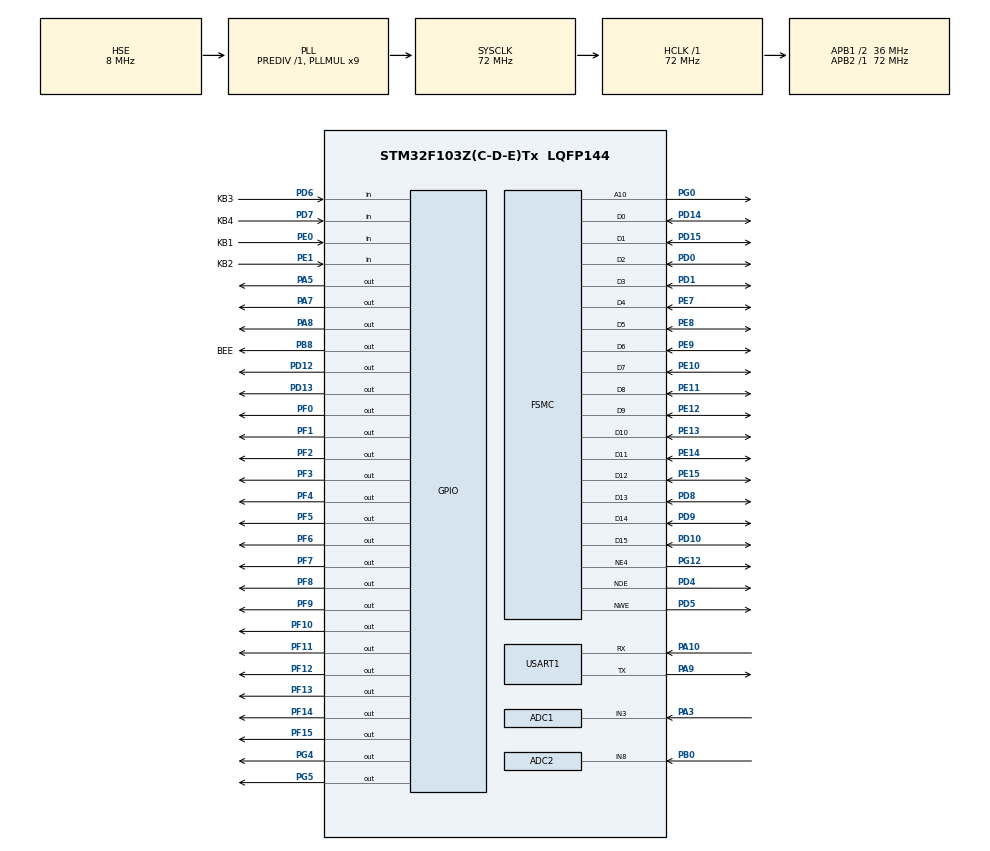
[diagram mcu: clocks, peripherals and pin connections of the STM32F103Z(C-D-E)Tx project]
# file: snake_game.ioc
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ADC1.Channel-0\#ChannelRegularConversion=ADC_CHANNEL_3
ADC1.NbrOfConversionFlag=1
ADC1.Rank-0\#ChannelRegularConversion=1
ADC1.SamplingTime-0\#ChannelRegularConversion=ADC_SAMPLETIME_1CYCLE_5
ADC1.master=1
ADC2.Channel-0\#ChannelRegularConversion=ADC_CHANNEL_8
ADC2.NbrOfConversionFlag=1
ADC2.Rank-0\#ChannelRegularConversion=1
ADC2.SamplingTime-0\#ChannelRegularConversion=ADC_SAMPLETIME_1CYCLE_5
FREERTOS.Tasks01=gameTask,0,128,StartGameTask,Default,NULL,Dynamic,NULL,NULL;musicTask,0,128,StartMusicTask,Default,NULL,Dynamic,NULL,NULL;updateTask,0,128,StartUpdateTask,Default,NULL,Dynamic,NULL,NULL
FREERTOS.configUSE_NEWLIB_REENTRANT=1
FSMC.AddressSetupTime1=1
FSMC.BusTurnAroundDuration1=0
FSMC.DataSetupTime1=15
FSMC.ExtendedAddressSetupTime1=0
FSMC.ExtendedBusTurnAroundDuration1=0
FSMC.ExtendedDataSetupTime1=3
FSMC.ExtendedMode1=FSMC_EXTENDED_MODE_ENABLE
Mcu.Family=STM32F1
Mcu.Name=STM32F103Z(C-D-E)Tx
Mcu.Package=LQFP144
NVIC.ADC1_2_IRQn=true\:5\:0\:false\:false\:true\:true\:true\:true
NVIC.PriorityGroup=NVIC_PRIORITYGROUP_4
NVIC.TIM3_IRQn=true\:5\:0\:false\:false\:true\:true\:true\:true
NVIC.TIM8_UP_IRQn=true\:15\:0\:false\:false\:true\:false\:false\:true
NVIC.TimeBase=TIM8_UP_IRQn
NVIC.TimeBaseIP=TIM8
OSC_IN.Mode=HSE-External-Oscillator
OSC_IN.Signal=RCC_OSC_IN
OSC_OUT.Mode=HSE-External-Oscillator
OSC_OUT.Signal=RCC_OSC_OUT
PA10.Mode=Asynchronous
PA10.Signal=USART1_RX
PA13.Mode=Serial_Wire
PA13.Signal=SYS_JTMS-SWDIO
PA14.Mode=Serial_Wire
PA14.Signal=SYS_JTCK-SWCLK
PA3.Signal=ADCx_IN3
PA5.Signal=GPIO_Output
PA7.Signal=GPIO_Output
PA8.Signal=GPIO_Output
PA9.Mode=Asynchronous
PA9.Signal=USART1_TX
PB0.Signal=ADCx_IN8
PB8.GPIO_Label=BEE
PB8.GPIO_PuPd=GPIO_NOPULL
PB8.GPIO_Speed=GPIO_SPEED_FREQ_LOW
PB8.PinState=GPIO_PIN_RESET
PB8.Signal=GPIO_Output
PD0.Signal=FSMC_D2_DA2
PD1.Signal=FSMC_D3_DA3
PD10.Signal=FSMC_D15_DA15
PD12.Signal=GPIO_Output
PD13.Signal=GPIO_Output
PD14.Signal=FSMC_D0_DA0
PD15.Signal=FSMC_D1_DA1
PD4.Signal=FSMC_NOE
PD5.Signal=FSMC_NWE
PD6.GPIO_Label=KB3
PD6.GPIO_PuPd=GPIO_PULLUP
PD6.Signal=GPIO_Input
PD7.GPIO_Label=KB4
PD7.GPIO_PuPd=GPIO_PULLUP
PD7.Signal=GPIO_Input
PD8.Signal=FSMC_D13_DA13
PD9.Signal=FSMC_D14_DA14
PE0.GPIO_Label=KB1
PE0.GPIO_PuPd=GPIO_PULLUP
PE0.Signal=GPIO_Input
PE1.GPIO_Label=KB2
PE1.GPIO_PuPd=GPIO_PULLUP
PE1.Signal=GPIO_Input
PE10.Signal=FSMC_D7_DA7
PE11.Signal=FSMC_D8_DA8
PE12.Signal=FSMC_D9_DA9
PE13.Signal=FSMC_D10_DA10
PE14.Signal=FSMC_D11_DA11
PE15.Signal=FSMC_D12_DA12
PE7.Signal=FSMC_D4_DA4
PE8.Signal=FSMC_D5_DA5
PE9.Signal=FSMC_D6_DA6
PF0.Signal=GPIO_Output
PF1.Signal=GPIO_Output
PF10.Signal=GPIO_Output
PF11.Signal=GPIO_Output
PF12.Signal=GPIO_Output
PF13.Signal=GPIO_Output
PF14.Signal=GPIO_Output
PF15.Signal=GPIO_Output
PF2.Signal=GPIO_Output
PF3.Signal=GPIO_Output
PF4.Signal=GPIO_Output
PF5.Signal=GPIO_Output
PF6.Signal=GPIO_Output
PF7.Signal=GPIO_Output
PF8.Signal=GPIO_Output
PF9.Signal=GPIO_Output
PG0.Signal=FSMC_A10
PG12.Mode=NorPsramChipSelect4_1
PG12.Signal=FSMC_NE4
PG4.Signal=GPIO_Output
PG5.Signal=GPIO_Output
ProjectManager.HeapSize=0x200
ProjectManager.StackSize=0x400
ProjectManager.TargetToolchain=STM32CubeIDE
RCC.ADCPresc=RCC_ADCPCLK2_DIV6
RCC.AHBFreq_Value=72000000
RCC.APB1CLKDivider=RCC_HCLK_DIV2
RCC.APB1Freq_Value=36000000
RCC.APB1TimFreq_Value=72000000
RCC.APB2Freq_Value=72000000
RCC.APB2TimFreq_Value=72000000
RCC.HCLKFreq_Value=72000000
RCC.PLLMUL=RCC_PLL_MUL9
RCC.PLLSourceVirtual=RCC_PLLSOURCE_HSE
RCC.SYSCLKFreq_VALUE=72000000
RCC.SYSCLKSource=RCC_SYSCLKSOURCE_PLLCLK
RCC.USBFreq_Value=72000000
SH.ADCx_IN3.0=ADC1_IN3,IN3
SH.ADCx_IN8.0=ADC2_IN8,IN8
SH.FSMC_A10.0=FSMC_A10,A10_1
SH.FSMC_D0_DA0.0=FSMC_D0,16b-d1
SH.FSMC_D10_DA10.0=FSMC_D10,16b-d1
SH.FSMC_D11_DA11.0=FSMC_D11,16b-d1
SH.FSMC_D12_DA12.0=FSMC_D12,16b-d1
SH.FSMC_D13_DA13.0=FSMC_D13,16b-d1
SH.FSMC_D14_DA14.0=FSMC_D14,16b-d1
SH.FSMC_D15_DA15.0=FSMC_D15,16b-d1
SH.FSMC_D1_DA1.0=FSMC_D1,16b-d1
SH.FSMC_D2_DA2.0=FSMC_D2,16b-d1
SH.FSMC_D3_DA3.0=FSMC_D3,16b-d1
SH.FSMC_D4_DA4.0=FSMC_D4,16b-d1
SH.FSMC_D5_DA5.0=FSMC_D5,16b-d1
SH.FSMC_D6_DA6.0=FSMC_D6,16b-d1
SH.FSMC_D7_DA7.0=FSMC_D7,16b-d1
SH.FSMC_D8_DA8.0=FSMC_D8,16b-d1
SH.FSMC_D9_DA9.0=FSMC_D9,16b-d1
SH.FSMC_NOE.0=FSMC_NOE,Lcd1
SH.FSMC_NWE.0=FSMC_NWE,Lcd1
TIM3.AutoReloadPreload=TIM_AUTORELOAD_PRELOAD_ENABLE
TIM3.Period=200-1
TIM3.Prescaler=3600-1
USART1.VirtualMode=VM_ASYNC
VP_FREERTOS_VS_CMSIS_V1.Mode=CMSIS_V1
VP_SYS_VS_tim8.Mode=TIM8
VP_TIM3_VS_ClockSourceINT.Mode=Internal
board=custom

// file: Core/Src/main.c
/* USER CODE BEGIN Header */
/**
 ******************************************************************************
 * @file           : main.c
 * @brief          : Main program body
 ******************************************************************************
 * @attention
 *
 * <h2><center>&copy; Copyright (c) 2021 STMicroelectronics.
 * All rights reserved.</center></h2>
 *
 * This software component is licensed by ST under BSD 3-Clause license,
 * the "License"; You may not use this file except in compliance with the
 * License. You may obtain a copy of the License at:
 *                        opensource.org/licenses/BSD-3-Clause
 *
 ******************************************************************************
 */
/* USER CODE END Header */
#include "main.h"
#include "cmsis_os.h"
#include "adc.h"
#include "tim.h"
#include "usart.h"
#include "gpio.h"
#include "fsmc.h"

/* USER CODE BEGIN Includes */
#include "lcd.h"
#include "stdio.h"
#include "gui.h"
#include "music.h"
/* USER CODE END Includes */

/* USER CODE BEGIN PV */
u16 update_time = 100; // standrad 1s
u8 check_flag = 0;
u8 time_update_flag = 0;
/* USER CODE END PV */

void SystemClock_Config(void);
void MX_FREERTOS_Init(void);

int main(void) {

	/* MCU Configuration--------------------------------------------------------*/

	/* Reset of all peripherals, Initializes the Flash interface and the Systick. */
	HAL_Init();

	/* Configure the system clock */
	SystemClock_Config();

	/* Initialize all configured peripherals */
	MX_GPIO_Init();
	MX_FSMC_Init();
	MX_USART1_UART_Init();
	MX_TIM3_Init();
	MX_ADC1_Init();
	MX_ADC2_Init();
	/* USER CODE BEGIN 2 */
	LCD_Init();  //初始化LCD FSMC接口
	HAL_TIM_Base_Start_IT(&htim3);
	srand(5000);
	//music_play(1);
	/* USER CODE END 2 */

	/* Call init function for freertos objects (in freertos.c) */
	MX_FREERTOS_Init();
	/* Start scheduler */
	osKernelStart();

	/* We should never get here as control is now taken by the scheduler */
	/* Infinite loop */
	while (1) {

	}
}

void SystemClock_Config(void) {
	RCC_OscInitTypeDef RCC_OscInitStruct = { 0 };
	RCC_ClkInitTypeDef RCC_ClkInitStruct = { 0 };
	RCC_PeriphCLKInitTypeDef PeriphClkInit = { 0 };

	/** Initializes the RCC Oscillators according to the specified parameters
	 * in the RCC_OscInitTypeDef structure.
	 */
	RCC_OscInitStruct.OscillatorType = RCC_OSCILLATORTYPE_HSE;
	RCC_OscInitStruct.HSEState = RCC_HSE_ON;
	RCC_OscInitStruct.HSEPredivValue = RCC_HSE_PREDIV_DIV1;
	RCC_OscInitStruct.HSIState = RCC_HSI_ON;
	RCC_OscInitStruct.PLL.PLLState = RCC_PLL_ON;
	RCC_OscInitStruct.PLL.PLLSource = RCC_PLLSOURCE_HSE;
	RCC_OscInitStruct.PLL.PLLMUL = RCC_PLL_MUL9;
	if (HAL_RCC_OscConfig(&RCC_OscInitStruct) != HAL_OK) {
		Error_Handler();
	}
	/** Initializes the CPU, AHB and APB buses clocks
	 */
	RCC_ClkInitStruct.ClockType = RCC_CLOCKTYPE_HCLK | RCC_CLOCKTYPE_SYSCLK
			| RCC_CLOCKTYPE_PCLK1 | RCC_CLOCKTYPE_PCLK2;
	RCC_ClkInitStruct.SYSCLKSource = RCC_SYSCLKSOURCE_PLLCLK;
	RCC_ClkInitStruct.AHBCLKDivider = RCC_SYSCLK_DIV1;
	RCC_ClkInitStruct.APB1CLKDivider = RCC_HCLK_DIV2;
	RCC_ClkInitStruct.APB2CLKDivider = RCC_HCLK_DIV1;

	if (HAL_RCC_ClockConfig(&RCC_ClkInitStruct, FLASH_LATENCY_2) != HAL_OK) {
		Error_Handler();
	}
	PeriphClkInit.PeriphClockSelection = RCC_PERIPHCLK_ADC;
	PeriphClkInit.AdcClockSelection = RCC_ADCPCLK2_DIV6;
	if (HAL_RCCEx_PeriphCLKConfig(&PeriphClkInit) != HAL_OK) {
		Error_Handler();
	}
}

/* USER CODE BEGIN 4 */
u16 time1 = 0, time2 = 0;
/* USER CODE END 4 */

void HAL_TIM_PeriodElapsedCallback(TIM_HandleTypeDef *htim) {
	if (htim->Instance == TIM8) {
		HAL_IncTick();
	}
	/* USER CODE BEGIN Callback 1 */
	if (htim == &htim3) {
		time1++;
		time2++;
		srand(time2);
		if (time1 == update_time) {
			time1 = 0;
			// check and update snake
			check_flag = 1;
		}
		if (time2 == 100) {
			time2 = 0;
			time_update_flag = 1;
		}
	}
	/* USER CODE END Callback 1 */
}

void Error_Handler(void) {
	__disable_irq();
	while (1) {
	}
}

/************************ (C) COPYRIGHT STMicroelectronics *****END OF FILE****/

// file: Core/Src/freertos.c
/* USER CODE BEGIN Header */
/**
 ******************************************************************************
 * File Name          : freertos.c
 * Description        : Code for freertos applications
 ******************************************************************************
 * @attention
 *
 * <h2><center>&copy; Copyright (c) 2021 STMicroelectronics.
 * All rights reserved.</center></h2>
 *
 * This software component is licensed by ST under Ultimate Liberty license
 * SLA0044, the "License"; You may not use this file except in compliance with
 * the License. You may obtain a copy of the License at:
 *                             www.st.com/SLA0044
 *
 ******************************************************************************
 */
/* USER CODE END Header */

#include "FreeRTOS.h"
#include "task.h"
#include "main.h"
#include "cmsis_os.h"

/* USER CODE BEGIN Includes */
#include "lcd.h"
#include "stdio.h"
#include "music.h"
#include "gui.h"
#include "stdlib.h"
#include "adc.h"
/* USER CODE END Includes */

/* USER CODE BEGIN PD */
#define EMPTY 0
#define SNAKE 1
#define FOOD  2
// direction define
#define RIGHT 0
#define LEFT 1
#define UP 2
#define DOWN 3
// define X, Y
#define X_POS 0
#define Y_POS 1
// game state
#define GAME_INIT 0
#define RUNNING 1
#define GAME_FAIL 2
#define GMAE_SUCCESS 3
/* USER CODE END PD */

/* USER CODE BEGIN Variables */
int s[2] = { 0, 0 };
unsigned char table[] = { 0x3f, 0x06, 0x5b, 0x4f, 0x66, 0x6d, 0x7d, 0x07, 0x7f,
		0x6f, 0x77, 0x7c, 0x39, 0x5e, 0x79, 0x71, 0x40, };
unsigned char score_str[] = { 0x6d, 0x39, 0x3f, 0x77, 0x79, 0x40 }; //SCORE-XX
int game_score = 0, choose = 1;
char music_state = 0;
// 0:menu, 1:game page, 2:game setting, 3:game history, 4: About
char display_choose = 0; // init = 0
char key_state = 0;
// x: y:1-14
char game_board[24][15] = { 0 };
int val_input = 0;
extern u8 check_flag, time_update_flag;
extern u16 update_time;
u8 time_m, time_s;
u8 direction = RIGHT;
u8 game_state = GAME_INIT, head_index, tail_index;
u8 snake[2][2000], snake_speed = 0;
u8 game_over_show = 0, show_board = 1;
u8 init_len = 3;
/* USER CODE END Variables */
osThreadId gameTaskHandle;
osThreadId musicTaskHandle;
osThreadId updateTaskHandle;

void StartGameTask(void const *argument);
void StartMusicTask(void const *argument);
void StartUpdateTask(void const *argument);

void MX_FREERTOS_Init(void); /* (MISRA C 2004 rule 8.1) */

/* GetIdleTaskMemory prototype (linked to static allocation support) */
void vApplicationGetIdleTaskMemory(StaticTask_t **ppxIdleTaskTCBBuffer,
		StackType_t **ppxIdleTaskStackBuffer, uint32_t *pulIdleTaskStackSize);

/* USER CODE BEGIN GET_IDLE_TASK_MEMORY */
static StaticTask_t xIdleTaskTCBBuffer;
static StackType_t xIdleStack[configMINIMAL_STACK_SIZE];

void vApplicationGetIdleTaskMemory(StaticTask_t **ppxIdleTaskTCBBuffer,
		StackType_t **ppxIdleTaskStackBuffer, uint32_t *pulIdleTaskStackSize) {
	*ppxIdleTaskTCBBuffer = &xIdleTaskTCBBuffer;
	*ppxIdleTaskStackBuffer = &xIdleStack[0];
	*pulIdleTaskStackSize = configMINIMAL_STACK_SIZE;
	/* place for user code */
}
/* USER CODE END GET_IDLE_TASK_MEMORY */

void MX_FREERTOS_Init(void) {

	/* Create the thread(s) */
	/* definition and creation of gameTask */
	osThreadDef(gameTask, StartGameTask, osPriorityNormal, 0, 128);
	gameTaskHandle = osThreadCreate(osThread(gameTask), NULL);

	/* definition and creation of musicTask */
	osThreadDef(musicTask, StartMusicTask, osPriorityNormal, 0, 128);
	musicTaskHandle = osThreadCreate(osThread(musicTask), NULL);

	/* definition and creation of updateTask */
	osThreadDef(updateTask, StartUpdateTask, osPriorityNormal, 0, 128);
	updateTaskHandle = osThreadCreate(osThread(updateTask), NULL);

}

/* USER CODE BEGIN Header_StartGameTask */
void write_byte(unsigned char date) {
	unsigned char i;
	for (i = 0; i < 8; i++) {
		HAL_GPIO_WritePin(GPIOA, GPIO_PIN_7, (date >> (7 - i)) & 0x01);
		HAL_GPIO_WritePin(GPIOA, GPIO_PIN_5, 1);
		HAL_GPIO_WritePin(GPIOA, GPIO_PIN_5, 0);
	}
	HAL_GPIO_WritePin(GPIOA, GPIO_PIN_8, 1);
	HAL_GPIO_WritePin(GPIOA, GPIO_PIN_8, 0);
}

void updateDigitalNum(unsigned char num) {
	int num1 = num % 10;
	int num2 = (num / 10) % 10;
	s[0] = num2;
	s[1] = num1;
	for (char i = 0; i < 6; i++) {
		write_byte(score_str[i]);
		HAL_GPIO_WritePin(GPIOF, 0x01 << (15 - i), 0);
		delay_us(410);
		HAL_GPIO_WritePin(GPIOF, 0x01 << (15 - i), 1);
	}
	for (char i = 6; i < 8; i++) {
		write_byte(table[s[i - 6]]);
		HAL_GPIO_WritePin(GPIOF, 0x01 << (15 - i), 0);
		delay_us(410);
		HAL_GPIO_WritePin(GPIOF, 0x01 << (15 - i), 1);
	}
}

//KB1-KB4: 1-4
//Ka1-Ka5: 5-9
int key_scan() {
	u32 val = 0;
	float y = 0;
	char key_result = 0;
	int time = 12000;

	if (HAL_GPIO_ReadPin(KB1_GPIO_Port, KB1_Pin) == 0) {
		delay_us(time);
		if (HAL_GPIO_ReadPin(KB1_GPIO_Port, KB1_Pin) == 0) {
			key_result = 1;
		}
	} else if (HAL_GPIO_ReadPin(KB2_GPIO_Port, KB2_Pin) == 0) {
		delay_us(time);
		if (HAL_GPIO_ReadPin(KB2_GPIO_Port, KB2_Pin) == 0) {
			key_result = 2;
		}
	} else if (HAL_GPIO_ReadPin(KB3_GPIO_Port, KB3_Pin) == 0) {
		delay_us(time);
		if (HAL_GPIO_ReadPin(KB3_GPIO_Port, KB3_Pin) == 0) {
			key_result = 3;
		}
	} else if (HAL_GPIO_ReadPin(KB4_GPIO_Port, KB4_Pin) == 0) {
		delay_us(time);
		if (HAL_GPIO_ReadPin(KB4_GPIO_Port, KB4_Pin) == 0) {
			key_result = 4;
		}
	}
	HAL_ADC_Start(&hadc2);
	HAL_ADC_PollForConversion(&hadc2, 100);
	if (HAL_IS_BIT_SET(HAL_ADC_GetState(&hadc2), HAL_ADC_STATE_REG_EOC)) {
		val = HAL_ADC_GetValue(&hadc2);
		y = val * 3.3 / 4096;
		int ka = ((int) (y * 10));
		if (ka == 4 || ka == 5) {
			key_result = 5;
		} else if (ka == 8 || ka == 9) {
			key_result = 6;
		} else if (ka == 11 || ka == 12) {
			key_result = 7;
		} else if (ka == 14) {
			key_result = 8;
		} else if (ka == 16) {
			key_result = 9;
		}
		return key_result;
	}
}

void drawSquare(u16 x1, u16 y1, u16 width, u16 color) {
	LCD_Fill(x1, y1, x1 + width, y1 + width, color);
}

void drawSquareInBoard(u16 x, u16 y, u16 width, u16 color) {
	u16 x_start = 70 + x * width;
	u16 y_start = 10 + y * width;
	LCD_Fill(y_start, x_start, y_start + width, x_start + width, color);
}

void setGameBoard(u8 x, u8 y, u8 state) {
	game_board[x][y] = state;
}

u8 getGameBoard(u8 x, u8 y) {
	return game_board[x][y];
}

void generateFood() {
	u8 x = rand() % 23;
	u8 y = rand() % 14;
	while (game_board[x][y] == SNAKE) {
		x = rand() % 23;
		y = rand() % 14;
	}
	game_board[x][y] = FOOD;
}
void LED_Flow(u8 speed) {
	for (int i = 0; i < 8; i++) {
		GPIOF->ODR &= 0xFFFFFF00;
		GPIOF->ODR |= 1 << i;
		if (i == 7)
			delay_us((101 - speed) * 600);
		else
			delay_us((101 - speed) * 1000);
	}
}

void updateSnakePos() {
	char next_x = snake[X_POS][head_index], next_y = snake[Y_POS][head_index];
	head_index++;
	if (head_index > 1999) {
		head_index = 0;
	}
	if (key_state == 1 && direction != RIGHT)
		direction = LEFT;
	else if (key_state == 2 && direction != DOWN)
		direction = UP;
	else if (key_state == 3 && direction != UP)
		direction = DOWN;
	else if (key_state == 4 && direction != LEFT)
		direction = RIGHT;
	// handler direction choose
	if (direction == RIGHT) {
		next_y++;
	} else if (direction == LEFT) {
		next_y--;
	} else if (direction == UP) {
		next_x--;
	} else if (direction == DOWN) {
		next_x++;
	}
	// check edge
	if (next_y == 14 || next_y == 255 || next_x == 23 || next_x == 255) {
		game_state = GAME_FAIL;
		game_over_show = 1;
		return;
	}
	// get food
	if (getGameBoard(next_x, next_y) == FOOD) {
		music_state = 1;
		snake[Y_POS][head_index] = next_y;
		snake[X_POS][head_index] = next_x;
		setGameBoard(next_x, next_y, SNAKE);
		head_index++;
		if (head_index > 1999) {
			head_index = 0;
		}
		if (direction == RIGHT) {
			next_y++;
		} else if (direction == LEFT) {
			next_y--;
		} else if (direction == UP) {
			next_x--;
		} else if (direction == DOWN) {
			next_x++;
		}
		generateFood();
		game_score++;
	}
	snake[Y_POS][head_index] = next_y;
	snake[X_POS][head_index] = next_x;
	setGameBoard(next_x, next_y, SNAKE);
	setGameBoard(snake[X_POS][tail_index], snake[Y_POS][tail_index], EMPTY);
	tail_index++;
	if (tail_index > 1999) {
		tail_index = 0;
	}
}

void showGameBoard() {
	for (u8 i = 0; i < 23; i++) {
		for (u8 j = 0; j < 14; j++) {
			if (game_board[i][j] == SNAKE)
				drawSquareInBoard(i, j, 10, RED);
			else if (game_board[i][j] == FOOD)
				drawSquareInBoard(i, j, 10, BROWN);
			else
				drawSquareInBoard(i, j, 10, WHITE);
		}
	}
}

void initGameState() {
	for (u8 i = 0; i < 23; i++) {
		for (u8 j = 0; j < 14; j++) {
			game_board[i][j] = EMPTY;
		}
	}
	// init snake position
	for (u8 i = 0; i < init_len; i++) {
		game_board[5][3 + i] = SNAKE;
		snake[X_POS][i] = 5;
		snake[Y_POS][i] = 3 + i;
	}
	tail_index = 0;
	head_index = init_len - 1;
	game_state = RUNNING;
	direction = RIGHT;
	game_score = 0;
	time_m = 0;
	time_s = 0;
	generateFood();
}
/**
 * @brief  Function implementing the gameTask thread.
 * @param  argument: Not used
 * @retval None
 */
/* USER CODE END Header_StartGameTask */
void StartGameTask(void const *argument) {
	/* USER CODE BEGIN StartGameTask */
	/* Infinite loop */
	char buff[20];
	for (;;) {
		if (check_flag == 1 && display_choose == 1) {
			if (game_state == RUNNING) {
				updateSnakePos();
			}
			if (game_state == GAME_FAIL) {
				// game over
				if (game_over_show) {
					showGameBoard();
					LCD_Fill(38, 120, 180, 230, LIGHTGRAY);
					// show string
					Show_Str(80, 130, RED, BLUE, "Game Over", 16, 1);
					sprintf(buff, "Score: %d", game_score);
					Show_Str(40, 150, RED, BLUE, buff, 16, 1);
					sprintf(buff, "Time used: %.2d:%.2d", time_m, time_s);
					Show_Str(40, 170, RED, BLUE, buff, 16, 1);
					Show_Str(40, 190, MAGENTA, DARKBLUE, "Press KB1 return", 16,
							1);
					Show_Str(40, 210, MAGENTA, DARKBLUE, "Press KB2 restart",
							16, 1);
					game_over_show = 0;
				}
				// handle
				if (key_state == 1) {
					// return menu
					display_choose = 0;
					LCD_Clear(WHITE);
				} else if (key_state == 2) {
					// restart
					game_state = GAME_INIT;
					show_board = 1;
					LCD_Clear(WHITE);
				}
			}
			check_flag = 0;
		}

		if (time_update_flag
				== 1&& display_choose == 1 && game_state == RUNNING) {
			time_s++;
			if (time_s == 60) {
				time_m++;
				time_s = 0;
			}
			time_update_flag = 0;
		}

		// 数码管
		updateDigitalNum(game_score);
		osDelay(1);
	}
	/* USER CODE END StartGameTask */
}

void StartMusicTask(void const *argument) {
	/* USER CODE BEGIN StartMusicTask */
	/* Infinite loop */

	for (;;) {
		 music_play(music_state);
		 music_state = 0;
		// 流水灯
		LED_Flow(snake_speed);
		osDelay(1);
	}
	/* USER CODE END StartMusicTask */
}

void StartUpdateTask(void const *argument) {
	/* USER CODE BEGIN StartUpdateTask */
	/* Infinite loop */
	char board_width = 10;
	char buff[10];
	u8 i = 0, j = 0, choose_setting = 1;
	tail_index = 0;
	head_index = init_len - 1;
	u32 val0 = 0;
	float x = 0;
	u8 update_speed = 0;
	snake_speed = 11 - (update_time / 10);
	for (;;) {
		//LCD_Clear(WHITE);
		// update snake speed
		if (display_choose == 0) {
			// game menu
			Gui_StrCenter(0, 30, RED, BLUE, "Greedy Snake Game", 16, 1); //居中显示
			Gui_StrCenter(0, 60, RED, BLUE, "Game Menu", 16, 1);      //居中显示

			Show_Str(60, 90, MAGENTA, DARKBLUE, "1. Start Game", 16, 1);
			Show_Str(60, 120, MAGENTA, DARKBLUE, "2. Game Setting", 16, 1);
			Show_Str(60, 150, MAGENTA, DARKBLUE, "3. About", 16, 1);
			Show_Str(30, 90 + (choose - 1) * 30, RED, BLUE, ">>>", 16, 1);
		} else if (display_choose == 1 && game_state == GAME_INIT) { // game init
			initGameState();
		} else if (display_choose == 1 && game_state == RUNNING) {
			// game page
			Gui_StrCenter(0, 30, RED, BLUE, "Greedy Snake Game", 16, 1); //居中显示
			// game board show
			if (show_board) {
				for (char i = 0; i < 16; i++) {
					drawSquare(0 + i * board_width, 60, board_width,
					DARKBLUE); // ----
					drawSquare(i * board_width, 300, board_width, DARKBLUE); // ----
				}
				for (char i = 0; i < 24; i++) {
					drawSquare(0, 60 + (i + 1) * board_width, board_width,
					DARKBLUE);            // |
					drawSquare(15 * board_width, 70 + i * board_width,
							board_width, DARKBLUE);   // |
				}
				show_board = 0;
			}
			// show score
			Show_Str(170, 180, MAGENTA, DARKBLUE, "Score:", 16, 1);
			sprintf(buff, "    %d", game_score);
			Show_Str(170, 200, BLUE, LGRAY, buff, 16, 0);
			// show time
			Show_Str(170, 220, MAGENTA, DARKBLUE, "Time:", 16, 1);
			sprintf(buff, "%.2d:%.2d", time_m, time_s);
			Show_Str(170, 240, BLUE, LGRAY, buff, 16, 0);
			// show snake
			showGameBoard();
		} else if (display_choose == 2) { //game setting
			// game setting
			Gui_StrCenter(0, 30, RED, BLUE, "Greedy Snake Game", 16, 1); //居中显示
			Gui_StrCenter(0, 60, RED, BLUE, "Game Setting", 16, 1);   //居中显示

			Show_Str(30, 90, MAGENTA, DARKBLUE, "1. Snake initial length:", 16,
					1);
			sprintf(buff, "<   %d   >", init_len);
			Show_Str(60, 120, BLUE, DARKBLUE, buff, 16, 1);
			Show_Str(30, 150, MAGENTA, DARKBLUE, "2. Snake speed:", 16, 1);
			sprintf(buff, "<   %d   >", snake_speed);
			Show_Str(60, 180, BLUE, DARKBLUE, buff, 16, 1);
			Show_Str(0, 150 + (choose_setting - 1) * 60, RED, BLUE, ">>>", 16,
					1);

			Show_Str(30, 210, MAGENTA, DARKBLUE, "Press Ka1 return menu", 16,
					1);
			// 修改update_time
			if (choose_setting == 1) {
				snake_speed = val_input / 10;
				update_time = (11 - snake_speed) * 10;
				sprintf(buff, "<   %d   >", snake_speed);
				Show_Str(60, 180, MAGENTA, WHITE, "          ", 16, 0);
				Show_Str(60, 180, BLUE, DARKBLUE, buff, 16, 1);
			} else if (choose_setting == 0) {
				if (key_state == 6) {
					init_len++;
					if (init_len > 5)
						init_len = 5;
				} else if (key_state == 7) {
					init_len--;
					if (init_len < 1)
						init_len = 1;
				}
				sprintf(buff, "<   %d   >", init_len);
				Show_Str(60, 120, MAGENTA, WHITE, "          ", 16, 0);
				Show_Str(60, 120, BLUE, DARKBLUE, buff, 16, 1);
			}

		} else if (display_choose == 3) {
			// game About
			Gui_StrCenter(0, 30, RED, BLUE, "Greedy Snake Game", 16, 1); //居中显示
			Gui_StrCenter(0, 60, RED, BLUE, "Game About", 16, 1);   //居中显示
			Gui_StrCenter(0, 90, RED, BLUE, "2018112651  LiXiaodong", 16, 1);   //居中显示
			Gui_StrCenter(0, 120, RED, BLUE, "2018112630  GaoZhichao", 16, 1);   //居中显示
			Gui_StrCenter(0, 150, RED, BLUE, "2018112657  YuanHuajun", 16, 1);  //居中显示
			Gui_StrCenter(0, 180, RED, BLUE, "2018112721  AiErken", 16, 1);   //居中显示
		}
		// 获取按键状态
		key_state = key_scan();
		if (key_state == 1) {
			if (display_choose == 2) {
				Show_Str(0, 150 + (choose_setting - 1) * 60, RED, WHITE, "   ",
						16, 0);
			} else if (display_choose == 0) {
				Show_Str(30, 90 + (choose - 1) * 30, RED, WHITE, "   ", 16, 0);
			}
			choose--;
			if (choose <= 0)
				choose = 3;
			choose_setting = (choose_setting == 1) ? 0 : 1;
		} else if (key_state == 2) {
			if (display_choose == 2) {
				Show_Str(0, 150 + (choose_setting - 1) * 60, RED, WHITE, "   ",
						16, 0);
			} else if (display_choose == 0) {
				Show_Str(30, 90 + (choose - 1) * 30, RED, WHITE, "   ", 16, 0);
			}
			choose++;
			if (choose > 3)
				choose = 1;
			choose_setting = (choose_setting == 1) ? 0 : 1;
		} else if ((key_state == 3 || key_state == 4) && display_choose == 0) {
			// comfirm
			display_choose = choose;
			if (display_choose == 1) {
				show_board = 1;
				game_state = GAME_INIT;
			}
			LCD_Clear(WHITE);
		} else if (key_state == 5
				&& (display_choose == 2 || display_choose == 3)) {
			// press ka1
			display_choose = 0;
			LCD_Clear(WHITE);
		}
		// 读取可调变压器值
		HAL_ADC_Start(&hadc1);
		HAL_ADC_PollForConversion(&hadc1, 100);
		if (HAL_IS_BIT_SET(HAL_ADC_GetState(&hadc1), HAL_ADC_STATE_REG_EOC)) {
			val0 = HAL_ADC_GetValue(&hadc1);
			x = val0 * 3.3 / 4096;
			float get = ((x * 100)) / 3.2;
			val_input = ((int) get);
		}
	}
	osDelay(1);
}
/* USER CODE END StartUpdateTask */

/************************ (C) COPYRIGHT STMicroelectronics *****END OF FILE****/
